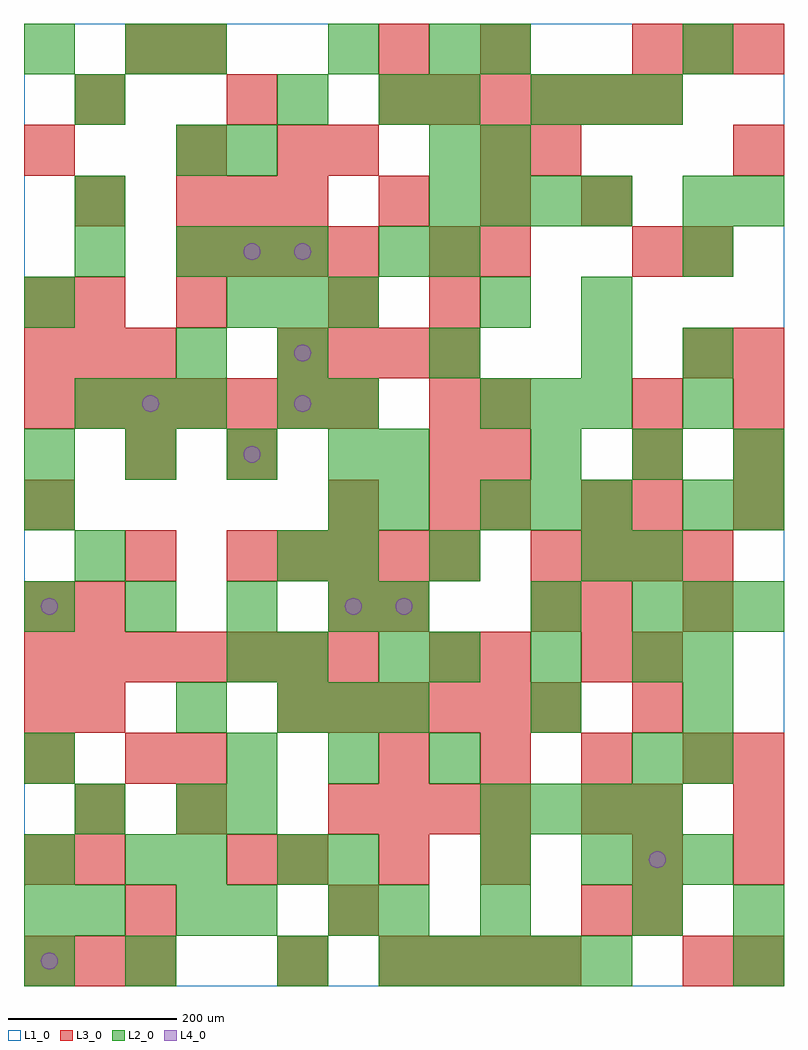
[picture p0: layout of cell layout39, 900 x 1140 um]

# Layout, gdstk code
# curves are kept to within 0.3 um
import gdstk
lib = gdstk.Library(unit=1e-6, precision=1e-09)
def R(c, l, rs):  # rectangles x0, y0, x1, y1
    for r in rs: c.add(gdstk.rectangle(r[:2], r[2:], *l))
def A(c, l, x, y, w, h, nx, ny, dx, dy):  # array of equal rectangles
    R(c, l, [(x+i*dx, y+j*dy, x+i*dx+w, y+j*dy+h) for i in range(nx) for j in range(ny)])
def P(c, l, *ps):  # polygons
    for p in ps: c.add(gdstk.Polygon(p, *l))
L1_0 = (1, 0)
L2_0 = (2, 0)
L3_0 = (3, 0)
L4_0 = (4, 0)

layout39 = lib.new_cell('layout39')
R(layout39, L1_0, [(0,0,900,1140)])
A(layout39, L2_0, 0, 0, 60, 60, 1, 3, 0, 60)
A(layout39, L2_0, 420, 0, 60, 60, 5, 1, 60, 0)
A(layout39, L2_0, 180, 60, 60, 60, 1, 3, 0, 60)
A(layout39, L2_0, 660, 120, 60, 60, 3, 1, 60, 0)
A(layout39, L2_0, 540, 180, 60, 60, 4, 1, 60, 0)
A(layout39, L2_0, 240, 240, 60, 60, 3, 1, 120, 0)
A(layout39, L2_0, 780, 240, 60, 60, 1, 3, 0, 60)
A(layout39, L2_0, 300, 300, 60, 60, 3, 1, 60, 0)
A(layout39, L2_0, 480, 360, 60, 60, 3, 1, 120, 0)
A(layout39, L2_0, 0, 420, 60, 60, 4, 2, 120, 180)
A(layout39, L2_0, 720, 420, 60, 60, 3, 1, 60, 0)
A(layout39, L2_0, 540, 540, 60, 60, 3, 2, 60, 120)
A(layout39, L2_0, 600, 600, 60, 60, 3, 1, 120, 0)
A(layout39, L2_0, 60, 660, 60, 60, 3, 1, 60, 0)
A(layout39, L2_0, 300, 720, 60, 60, 3, 1, 180, 0)
A(layout39, L2_0, 240, 780, 60, 60, 3, 1, 60, 0)
A(layout39, L2_0, 180, 840, 60, 60, 3, 1, 60, 0)
A(layout39, L2_0, 480, 900, 60, 60, 4, 1, 60, 0)
A(layout39, L2_0, 480, 960, 60, 60, 1, 3, 0, 60)
A(layout39, L2_0, 600, 1020, 60, 60, 3, 1, 60, 0)
R(layout39, L2_0, [(120,0,180,60), (300,0,360,60), (840,0,900,60), (60,60,120,120), (240,60,300,120), (360,60,420,120), (420,60,480,120), (540,60,600,120), (720,60,780,120), (840,60,900,120), (120,120,180,180), (300,120,360,180), (360,120,420,180), (540,120,600,180), (60,180,120,240), (240,180,300,240), (0,240,60,300), (720,240,780,300), (180,300,240,360), (600,300,660,360), (240,360,300,420), (300,360,360,420), (420,360,480,420), (420,420,480,480), (600,420,660,480), (60,480,120,540), (300,480,360,540), (360,480,420,540), (480,480,540,540), (660,480,720,540), (720,480,780,540), (0,540,60,600), (360,540,420,600), (420,540,480,600), (780,540,840,600), (840,540,900,600), (420,600,480,660), (300,660,360,720), (360,660,420,720), (780,660,840,720), (180,720,240,780), (780,720,840,780), (0,780,60,840), (540,780,600,840), (660,780,720,840), (60,840,120,900), (420,840,480,900), (480,840,540,900), (780,840,840,900), (60,900,120,960), (780,900,840,960), (840,900,900,960), (180,960,240,1020), (240,960,300,1020), (540,960,600,1020), (60,1020,120,1080), (300,1020,360,1080), (420,1020,480,1080), (0,1080,60,1140), (120,1080,180,1140), (180,1080,240,1140), (360,1080,420,1140), (540,1080,600,1140), (780,1080,840,1140)])
A(layout39, L3_0, 0, 0, 60, 60, 3, 2, 60, 720)
A(layout39, L3_0, 420, 0, 60, 60, 4, 1, 60, 0)
A(layout39, L3_0, 720, 60, 60, 60, 1, 3, 0, 60)
A(layout39, L3_0, 300, 120, 60, 60, 3, 1, 120, 0)
A(layout39, L3_0, 840, 120, 60, 60, 1, 3, 0, 60)
A(layout39, L3_0, 60, 180, 60, 60, 1, 3, 0, 120)
A(layout39, L3_0, 360, 180, 60, 60, 4, 1, 60, 0)
A(layout39, L3_0, 420, 240, 60, 60, 4, 1, 120, 0)
A(layout39, L3_0, 0, 300, 60, 60, 1, 3, 0, 120)
A(layout39, L3_0, 300, 300, 60, 60, 6, 1, 60, 0)
A(layout39, L3_0, 0, 360, 60, 60, 7, 2, 60, 300)
A(layout39, L3_0, 240, 480, 60, 60, 5, 1, 60, 0)
A(layout39, L3_0, 600, 480, 60, 60, 4, 1, 60, 0)
A(layout39, L3_0, 480, 540, 60, 60, 1, 3, 0, 60)
A(layout39, L3_0, 540, 540, 60, 60, 1, 3, 0, 60)
A(layout39, L3_0, 720, 540, 60, 60, 1, 3, 0, 60)
A(layout39, L3_0, 840, 540, 60, 60, 1, 4, 0, 60)
A(layout39, L3_0, 300, 720, 60, 60, 4, 1, 60, 0)
A(layout39, L3_0, 180, 840, 60, 60, 4, 1, 60, 0)
A(layout39, L3_0, 540, 840, 60, 60, 1, 3, 0, 120)
A(layout39, L3_0, 180, 900, 60, 60, 3, 1, 60, 0)
A(layout39, L3_0, 420, 900, 60, 60, 3, 1, 120, 0)
A(layout39, L3_0, 60, 1020, 60, 60, 3, 1, 180, 0)
A(layout39, L3_0, 480, 1020, 60, 60, 5, 1, 60, 0)
A(layout39, L3_0, 720, 1080, 60, 60, 3, 1, 60, 0)
R(layout39, L3_0, [(300,0,360,60), (780,0,840,60), (840,0,900,60), (120,60,180,120), (360,60,420,120), (660,60,720,120), (0,120,60,180), (60,120,120,180), (240,120,300,180), (180,180,240,240), (660,180,720,240), (0,240,60,300), (120,240,180,300), (180,240,240,300), (720,300,780,360), (480,360,540,420), (540,360,600,420), (660,360,720,420), (720,360,780,420), (360,420,420,480), (420,420,480,480), (600,420,660,480), (660,420,720,480), (780,420,840,480), (120,480,180,540), (360,540,420,600), (660,540,720,600), (120,600,180,660), (240,600,300,660), (780,720,840,780), (0,780,60,840), (60,780,120,840), (180,780,240,840), (360,780,420,840), (480,780,540,840), (480,840,540,900), (720,840,780,900), (780,840,840,900), (60,900,120,960), (0,960,60,1020), (180,960,240,1020), (300,960,360,1020), (360,960,420,1020), (600,960,660,1020), (840,960,900,1020), (120,1080,180,1140), (180,1080,240,1140), (420,1080,480,1140)])
P(layout39, L4_0, [(40,30),(39.239,33.827),(37.071,37.071),(33.827,39.239),(30,40),(26.173,39.239),(22.929,37.071),(20.761,33.827),(20,30),(20.761,26.173),(22.929,22.929),(26.173,20.761),(30,20),(33.827,20.761),(37.071,22.929),(39.239,26.173)],
  [(40,450),(39.239,453.827),(37.071,457.071),(33.827,459.239),(30,460),(26.173,459.239),(22.929,457.071),(20.761,453.827),(20,450),(20.761,446.173),(22.929,442.929),(26.173,440.761),(30,440),(33.827,440.761),(37.071,442.929),(39.239,446.173)],
  [(160,690),(159.239,693.827),(157.071,697.071),(153.827,699.239),(150,700),(146.173,699.239),(142.929,697.071),(140.761,693.827),(140,690),(140.761,686.173),(142.929,682.929),(146.173,680.761),(150,680),(153.827,680.761),(157.071,682.929),(159.239,686.173)],
  [(280,630),(279.239,633.827),(277.071,637.071),(273.827,639.239),(270,640),(266.173,639.239),(262.929,637.071),(260.761,633.827),(260,630),(260.761,626.173),(262.929,622.929),(266.173,620.761),(270,620),(273.827,620.761),(277.071,622.929),(279.239,626.173)],
  [(280,870),(279.239,873.827),(277.071,877.071),(273.827,879.239),(270,880),(266.173,879.239),(262.929,877.071),(260.761,873.827),(260,870),(260.761,866.173),(262.929,862.929),(266.173,860.761),(270,860),(273.827,860.761),(277.071,862.929),(279.239,866.173)],
  [(340,690),(339.239,693.827),(337.071,697.071),(333.827,699.239),(330,700),(326.173,699.239),(322.929,697.071),(320.761,693.827),(320,690),(320.761,686.173),(322.929,682.929),(326.173,680.761),(330,680),(333.827,680.761),(337.071,682.929),(339.239,686.173)],
  [(340,750),(339.239,753.827),(337.071,757.071),(333.827,759.239),(330,760),(326.173,759.239),(322.929,757.071),(320.761,753.827),(320,750),(320.761,746.173),(322.929,742.929),(326.173,740.761),(330,740),(333.827,740.761),(337.071,742.929),(339.239,746.173)],
  [(340,870),(339.239,873.827),(337.071,877.071),(333.827,879.239),(330,880),(326.173,879.239),(322.929,877.071),(320.761,873.827),(320,870),(320.761,866.173),(322.929,862.929),(326.173,860.761),(330,860),(333.827,860.761),(337.071,862.929),(339.239,866.173)],
  [(400,450),(399.239,453.827),(397.071,457.071),(393.827,459.239),(390,460),(386.173,459.239),(382.929,457.071),(380.761,453.827),(380,450),(380.761,446.173),(382.929,442.929),(386.173,440.761),(390,440),(393.827,440.761),(397.071,442.929),(399.239,446.173)],
  [(460,450),(459.239,453.827),(457.071,457.071),(453.827,459.239),(450,460),(446.173,459.239),(442.929,457.071),(440.761,453.827),(440,450),(440.761,446.173),(442.929,442.929),(446.173,440.761),(450,440),(453.827,440.761),(457.071,442.929),(459.239,446.173)],
  [(760,150),(759.239,153.827),(757.071,157.071),(753.827,159.239),(750,160),(746.173,159.239),(742.929,157.071),(740.761,153.827),(740,150),(740.761,146.173),(742.929,142.929),(746.173,140.761),(750,140),(753.827,140.761),(757.071,142.929),(759.239,146.173)])

lib.write_gds('layout39.gds')
